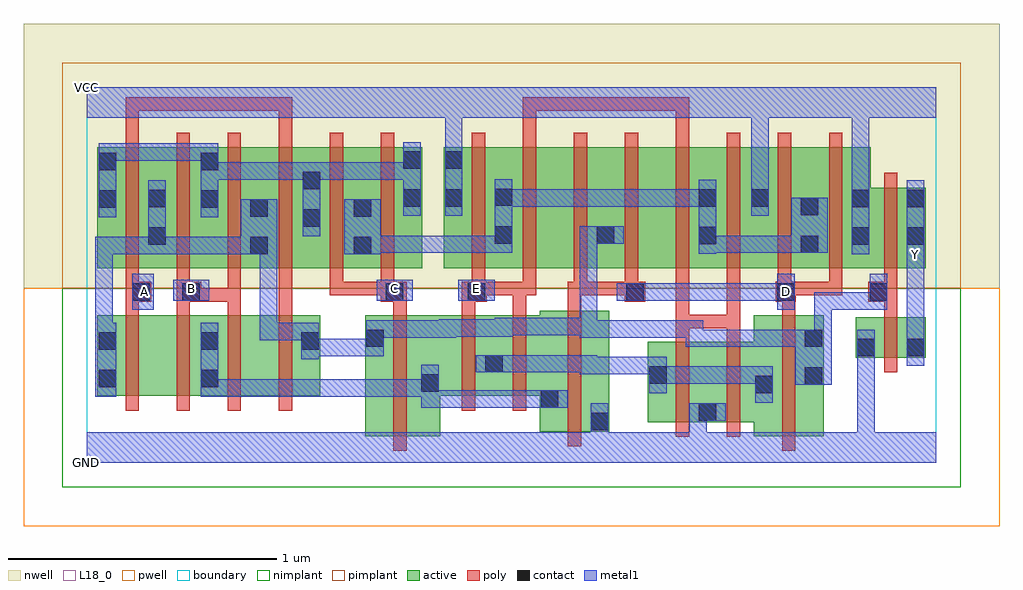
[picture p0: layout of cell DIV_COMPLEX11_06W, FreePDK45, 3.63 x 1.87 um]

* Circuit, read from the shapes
.subckt DIV_COMPLEX11_06W A B C D E GND VCC Y
M1 n1 A n2 VSUBS nfet w=0.3u l=0.05u
M2 n3 B n1 VSUBS nfet w=0.3u l=0.05u
M3 n4 B n3 VSUBS nfet w=0.3u l=0.05u
M4 n2 A n4 VSUBS nfet w=0.3u l=0.05u
M5 n3 C n2 VSUBS nfet w=0.45u l=0.05u
M6 n5 E n3 VSUBS nfet w=0.3u l=0.05u m=2
M7 GND D n3 VSUBS nfet w=0.45u l=0.05u
M8 GND E n5 VSUBS nfet w=0.3u l=0.05u m=2
M9 n2 D n5 VSUBS nfet w=0.45u l=0.05u
M10 Y n2 GND VSUBS nfet w=0.15u l=0.05u
M11 n2 A n6 n7 pfet w=0.45u l=0.05u m=2
M12 n6 B n2 n7 pfet w=0.45u l=0.05u m=2
M13 n8 C n6 n7 pfet w=0.45u l=0.05u m=2
M14 n8 E VCC n7 pfet w=0.45u l=0.05u m=2
M15 n9 E n8 n7 pfet w=0.45u l=0.05u
M16 n2 D n9 n7 pfet w=0.45u l=0.05u
M17 n10 D n2 n7 pfet w=0.45u l=0.05u
M18 n8 E n10 n7 pfet w=0.45u l=0.05u
M19 n8 D VCC n7 pfet w=0.45u l=0.05u m=2
M20 Y n2 VCC n7 pfet w=0.3u l=0.05u
.ends

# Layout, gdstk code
import gdstk
lib = gdstk.Library(unit=1e-6, precision=1e-09)
def R(c, l, rs):  # rectangles x0, y0, x1, y1
    for r in rs: c.add(gdstk.rectangle(r[:2], r[2:], *l))
def A(c, l, x, y, w, h, nx, ny, dx, dy):  # array of equal rectangles
    R(c, l, [(x+i*dx, y+j*dy, x+i*dx+w, y+j*dy+h) for i in range(nx) for j in range(ny)])
active = (1, 0)
pwell = (2, 0)
nwell = (3, 0)
nimplant = (4, 0)
pimplant = (5, 0)
poly = (9, 0)
contact = (10, 0)
metal1 = (11, 0)
L18_0 = (18, 0)
boundary = (235, 0)

div_complex11_06w = lib.new_cell('DIV_COMPLEX11_06W')
A(div_complex11_06w, active, 0.04, 0.725, 0.075, 0.45, 3, 1, 0.38, 0)
R(div_complex11_06w, active, [(1.037,0.1,1.317,0.55), (2.485,0.1,2.745,0.55), (1.687,0.117,1.947,0.567), (1.872,0.117,1.947,0.567), (1.037,0.145,1.112,0.55), (2.67,0.145,2.745,0.55), (2.09,0.152,2.35,0.452), (2.275,0.152,2.56,0.452), (2.275,0.152,2.35,0.392), (1.242,0.2,1.317,0.405), (1.687,0.2,1.762,0.405), (2.09,0.2,2.165,0.452), (2.485,0.2,2.56,0.392), (0.04,0.25,0.265,0.55), (0.04,0.25,0.115,0.55), (0.265,0.25,0.495,0.55), (0.42,0.25,0.645,0.55), (0.42,0.25,0.495,0.55), (0.645,0.25,0.87,0.55), (1.242,0.25,1.555,0.55), (1.48,0.25,1.762,0.55), (0.795,0.295,0.87,0.55), (1.48,0.295,1.555,0.407), (2.865,0.392,2.94,0.542), (2.865,0.392,3.125,0.542), (3.05,0.392,3.125,0.542), (0.04,0.725,0.3,1.175), (0.225,0.725,0.495,1.175), (0.225,0.725,0.3,1.07), (0.42,0.725,0.68,1.175), (0.605,0.725,0.875,1.175), (0.605,0.725,0.68,1.07), (0.8,0.725,1.065,1.175), (0.99,0.725,1.25,1.175), (0.99,0.725,1.065,1.07), (1.33,0.725,1.59,1.175), (1.515,0.725,1.745,1.175), (1.515,0.725,1.59,1.165), (1.745,0.725,1.97,1.175), (1.895,0.725,2.125,1.175), (1.895,0.725,1.97,1.07), (2.125,0.725,2.35,1.175), (2.275,0.725,2.35,1.167), (2.275,0.725,2.545,1.175), (2.47,0.725,2.73,1.175), (2.655,0.725,2.92,1.175), (2.655,0.725,2.73,1.167), (2.845,0.725,3.125,1.025), (2.845,0.725,2.92,1.022), (3.05,0.725,3.125,1.025), (1.33,0.85,1.405,1.175), (1.175,0.852,1.25,1.175), (2.47,0.852,2.545,1.175)])
R(div_complex11_06w, pwell, [(-0.235,-0.235,3.4,0.65)])
R(div_complex11_06w, nwell, [(-0.235,0.65,3.4,1.635)])
R(div_complex11_06w, nimplant, [(-0.09,-0.09,3.255,0.65)])
R(div_complex11_06w, pimplant, [(-0.09,0.65,3.255,1.49)])
A(div_complex11_06w, poly, 0.145, 0.195, 0.05, 0.41, 4, 1, 0.19, 0)
A(div_complex11_06w, poly, 0.145, 0.555, 0.05, 0.095, 3, 1, 0.19, 0)
A(div_complex11_06w, poly, 0.715, 0.625, 0.05, 0.095, 3, 1, 0.19, 0)
A(div_complex11_06w, poly, 0.715, 0.625, 0.05, 0.05, 3, 1, 0.19, 0)
A(div_complex11_06w, poly, 1.435, 0.625, 0.05, 0.095, 4, 1, 0.19, 0)
A(div_complex11_06w, poly, 0.145, 0.67, 0.05, 0.56, 6, 1, 0.19, 0)
A(div_complex11_06w, poly, 1.435, 0.67, 0.05, 0.56, 8, 1, 0.19, 0)
R(div_complex11_06w, poly, [(1.142,0.045,1.192,0.605), (2.59,0.045,2.64,0.605), (1.792,0.062,1.842,0.622), (2.195,0.097,2.245,0.507), (2.385,0.097,2.435,0.507), (1.397,0.195,1.447,0.605), (1.587,0.195,1.637,0.605), (2.97,0.337,3.02,0.597), (2.195,0.457,2.245,0.552), (2.385,0.457,2.435,0.552), (2.195,0.502,2.245,0.552), (2.195,0.502,2.245,0.72), (2.195,0.502,2.435,0.552), (2.385,0.502,2.435,0.552), (2.385,0.502,2.435,0.552), (2.385,0.502,2.435,0.552), (2.385,0.502,2.435,0.72), (2.97,0.547,3.02,0.65), (0.715,0.555,0.765,0.675), (1.142,0.555,1.192,0.65), (1.397,0.555,1.447,0.65), (1.587,0.555,1.637,0.675), (2.59,0.555,2.64,0.65), (1.792,0.572,1.842,0.675), (0.145,0.6,0.24,0.675), (0.335,0.6,0.427,0.675), (0.377,0.6,0.575,0.65), (0.525,0.6,0.575,0.65), (0.525,0.6,0.575,0.65), (0.525,0.6,0.575,0.65), (0.525,0.6,0.575,0.72), (1.095,0.6,1.192,0.675), (1.397,0.6,1.49,0.675), (2.005,0.6,2.08,0.675), (2.567,0.6,2.642,0.675), (2.912,0.6,3.02,0.675), (0.145,0.625,0.195,0.72), (0.335,0.625,0.385,0.72), (0.905,0.625,1.145,0.675), (1.095,0.625,1.145,0.675), (1.44,0.625,1.49,0.675), (1.44,0.625,1.49,0.675), (1.44,0.625,1.637,0.675), (1.587,0.625,1.675,0.675), (1.792,0.625,1.865,0.675), (1.815,0.625,2.055,0.675), (2.005,0.625,2.055,0.675), (2.005,0.625,2.055,0.675), (2.575,0.625,2.625,0.72), (2.592,0.625,2.815,0.675), (2.765,0.625,2.815,0.72), (2.765,0.625,2.815,0.675), (2.765,0.625,2.815,0.675), (2.765,0.625,2.815,0.675), (2.97,0.625,3.02,0.72), (2.97,0.67,3.02,1.08), (0.145,1.18,0.195,1.362), (0.715,1.18,0.765,1.362), (1.625,1.18,1.675,1.362), (2.195,1.18,2.245,1.362), (0.145,1.312,0.195,1.362), (0.145,1.312,0.195,1.362), (0.145,1.312,0.195,1.362), (0.145,1.312,0.442,1.362), (0.392,1.312,0.442,1.362), (0.392,1.312,0.442,1.362), (0.392,1.312,0.442,1.362), (0.392,1.312,0.575,1.362), (0.525,1.312,0.575,1.362), (0.525,1.312,0.765,1.362), (0.715,1.312,0.765,1.362), (0.715,1.312,0.765,1.362), (0.715,1.312,0.765,1.362), (1.625,1.312,1.675,1.362), (1.625,1.312,1.675,1.362), (1.625,1.312,1.675,1.362), (1.625,1.312,1.865,1.362), (1.815,1.312,1.865,1.362), (1.815,1.312,1.997,1.362), (1.947,1.312,1.997,1.362), (1.947,1.312,1.997,1.362), (1.947,1.312,1.997,1.362), (1.947,1.312,2.245,1.362), (2.195,1.312,2.245,1.362), (2.195,1.312,2.245,1.362), (2.195,1.312,2.245,1.362)])
R(div_complex11_06w, contact, [(1.877,0.122,1.942,0.187), (2.28,0.157,2.345,0.222), (1.692,0.205,1.757,0.27), (2.49,0.26,2.555,0.325), (1.247,0.265,1.312,0.33), (0.045,0.282,0.11,0.347), (0.425,0.282,0.49,0.347), (2.675,0.292,2.74,0.357), (2.095,0.295,2.16,0.36), (1.485,0.337,1.55,0.402), (2.87,0.397,2.935,0.462), (3.055,0.397,3.12,0.462), (0.045,0.422,0.11,0.487), (0.425,0.422,0.49,0.487), (0.8,0.422,0.865,0.487), (1.042,0.432,1.107,0.497), (2.675,0.432,2.74,0.497), (0.17,0.605,0.235,0.67), (0.357,0.605,0.422,0.67), (1.115,0.605,1.18,0.67), (1.42,0.605,1.485,0.67), (2.01,0.605,2.075,0.67), (2.572,0.605,2.637,0.67), (2.917,0.605,2.982,0.67), (0.61,0.777,0.675,0.842), (0.995,0.777,1.06,0.842), (2.66,0.782,2.725,0.847), (0.23,0.812,0.295,0.877), (2.85,0.812,2.915,0.877), (3.055,0.812,3.12,0.877), (2.28,0.815,2.345,0.88), (1.52,0.817,1.585,0.882), (1.9,0.817,1.965,0.882), (0.805,0.88,0.87,0.945), (0.61,0.917,0.675,0.982), (0.995,0.917,1.06,0.982), (2.66,0.922,2.725,0.987), (0.045,0.95,0.11,1.015), (0.425,0.95,0.49,1.015), (0.23,0.952,0.295,1.017), (2.85,0.952,2.915,1.017), (3.055,0.952,3.12,1.017), (1.18,0.955,1.245,1.02), (1.335,0.955,1.4,1.02), (2.28,0.955,2.345,1.02), (2.475,0.955,2.54,1.02), (1.52,0.957,1.585,1.022), (0.805,1.02,0.87,1.085), (0.045,1.09,0.11,1.155), (0.425,1.09,0.49,1.155), (1.18,1.095,1.245,1.16), (1.335,1.095,1.4,1.16)])
R(div_complex11_06w, metal1, [(0,0,3.165,0.115), (1.877,0.05,1.942,0.152), (2.245,0.05,2.31,0.115), (2.245,0.05,2.31,0.115), (2.245,0.05,2.31,0.222), (2.87,0.05,2.935,0.115), (2.87,0.05,2.935,0.115), (2.87,0.05,2.935,0.115), (2.87,0.05,2.935,0.115), (2.87,0.05,2.935,0.427), (1.877,0.087,1.942,0.152), (1.877,0.087,1.942,0.152), (1.877,0.087,1.942,0.222), (2.245,0.157,2.31,0.222), (2.245,0.157,2.31,0.222), (2.245,0.157,2.38,0.222), (1.247,0.205,1.585,0.27), (1.247,0.205,1.312,0.295), (1.52,0.205,1.585,0.27), (1.52,0.205,1.585,0.27), (1.52,0.205,1.585,0.27), (1.52,0.205,1.722,0.27), (1.657,0.205,1.722,0.27), (1.657,0.205,1.722,0.27), (1.657,0.205,1.792,0.27), (2.49,0.225,2.555,0.36), (1.247,0.23,1.312,0.295), (1.247,0.23,1.312,0.365), (0.032,0.247,0.11,0.522), (0.425,0.247,0.49,0.312), (0.425,0.247,0.49,0.312), (0.425,0.247,0.49,0.522), (0.425,0.247,0.627,0.312), (0.562,0.247,0.627,0.312), (0.562,0.247,0.847,0.312), (0.782,0.247,0.847,0.312), (0.782,0.247,0.847,0.312), (0.782,0.247,0.847,0.312), (0.782,0.247,1.007,0.312), (0.942,0.247,1.007,0.312), (0.942,0.247,1.007,0.312), (0.942,0.247,1.007,0.312), (0.942,0.247,1.175,0.312), (1.11,0.247,1.175,0.312), (1.11,0.247,1.312,0.312), (2.095,0.26,2.16,0.395), (2.64,0.292,2.775,0.497), (2.095,0.295,2.362,0.36), (2.297,0.295,2.362,0.36), (2.297,0.295,2.362,0.36), (2.297,0.295,2.362,0.36), (2.297,0.295,2.5,0.36), (2.435,0.295,2.5,0.36), (2.435,0.295,2.555,0.36), (1.837,0.33,1.905,0.395), (1.837,0.33,1.902,0.402), (1.84,0.33,1.905,0.395), (1.84,0.33,2.16,0.395), (2.095,0.33,2.16,0.395), (2.095,0.33,2.16,0.395), (1.45,0.337,1.585,0.402), (1.52,0.337,1.765,0.402), (1.7,0.337,1.765,0.402), (1.7,0.337,1.765,0.402), (1.7,0.337,1.765,0.402), (1.7,0.337,1.902,0.402), (2.87,0.362,2.935,0.427), (2.87,0.362,2.935,0.427), (2.87,0.362,2.935,0.497), (3.055,0.362,3.12,0.497), (0.8,0.387,0.865,0.522), (0.8,0.397,1.007,0.462), (0.942,0.397,1.007,0.462), (0.942,0.397,1.107,0.462), (1.042,0.397,1.107,0.532), (2.232,0.432,2.5,0.497), (2.232,0.432,2.297,0.532), (2.435,0.432,2.5,0.497), (2.435,0.432,2.5,0.497), (2.435,0.432,2.5,0.497), (2.435,0.432,2.637,0.497), (2.572,0.432,2.637,0.497), (2.572,0.432,2.705,0.497), (2.71,0.432,2.775,0.635), (3.055,0.432,3.12,0.772), (0.032,0.457,0.097,0.842), (0.645,0.457,0.71,0.522), (0.645,0.457,0.71,0.522), (0.645,0.457,0.71,0.522), (0.645,0.457,0.865,0.522), (0.645,0.457,0.71,0.842), (0.8,0.457,0.865,0.522), (0.8,0.457,0.865,0.522), (1.042,0.467,1.175,0.532), (1.11,0.467,1.175,0.532), (1.11,0.467,1.312,0.532), (1.247,0.467,1.312,0.532), (1.247,0.467,1.377,0.532), (1.312,0.467,1.377,0.535), (1.837,0.467,2.042,0.532), (1.837,0.467,1.902,0.54), (1.977,0.467,2.042,0.532), (1.977,0.467,2.042,0.532), (1.977,0.467,2.042,0.532), (1.977,0.467,2.297,0.532), (2.232,0.467,2.297,0.532), (2.232,0.467,2.297,0.532), (1.312,0.47,1.585,0.535), (1.52,0.47,1.585,0.535), (1.52,0.47,1.585,0.535), (1.52,0.47,1.585,0.54), (1.52,0.475,1.722,0.54), (1.657,0.475,1.722,0.54), (1.657,0.475,1.722,0.54), (1.657,0.475,1.722,0.54), (1.657,0.475,1.902,0.54), (1.837,0.475,1.902,0.54), (1.837,0.475,1.902,0.54), (1.837,0.475,1.902,0.54), (1.837,0.475,1.902,0.54), (1.837,0.475,1.902,0.882), (0.17,0.57,0.25,0.705), (2.572,0.57,2.637,0.705), (2.71,0.57,2.775,0.635), (2.71,0.57,2.775,0.635), (2.71,0.57,2.775,0.635), (2.71,0.57,2.982,0.635), (2.917,0.57,2.982,0.635), (2.917,0.57,2.982,0.635), (2.917,0.57,2.982,0.705), (0.322,0.605,0.457,0.682), (1.08,0.605,1.215,0.682), (1.385,0.605,1.52,0.682), (1.975,0.605,2.11,0.67), (2.045,0.605,2.11,0.67), (2.045,0.605,2.11,0.67), (2.045,0.605,2.297,0.67), (2.232,0.605,2.297,0.67), (2.232,0.605,2.297,0.67), (2.232,0.605,2.297,0.67), (2.232,0.605,2.5,0.67), (2.435,0.605,2.5,0.67), (2.435,0.605,2.552,0.67), (2.487,0.605,2.552,0.67), (2.487,0.605,2.637,0.67), (3.055,0.707,3.12,0.842), (0.032,0.777,0.097,0.842), (0.032,0.777,0.097,0.842), (0.032,0.777,0.097,0.842), (0.032,0.777,0.097,0.842), (0.032,0.777,0.097,0.842), (0.032,0.777,0.295,0.842), (0.23,0.777,0.295,0.842), (0.23,0.777,0.295,0.842), (0.23,0.777,0.295,1.052), (0.23,0.777,0.432,0.842), (0.367,0.777,0.432,0.842), (0.367,0.777,0.432,0.842), (0.367,0.777,0.432,0.842), (0.367,0.777,0.64,0.842), (0.575,0.777,0.71,0.982), (0.96,0.777,1.095,0.982), (2.85,0.777,2.915,1.052), (3.055,0.777,3.12,0.842), (3.055,0.777,3.12,1.052), (2.28,0.78,2.345,1.055), (1.03,0.782,1.175,0.847), (1.11,0.782,1.175,0.847), (1.11,0.782,1.312,0.847), (1.247,0.782,1.312,0.847), (1.247,0.782,1.312,0.847), (1.247,0.782,1.312,0.847), (1.247,0.782,1.585,0.847), (1.52,0.782,1.585,0.847), (1.52,0.782,1.585,0.847), (1.52,0.782,1.585,1.057), (2.28,0.782,2.5,0.847), (2.435,0.782,2.5,0.847), (2.435,0.782,2.5,0.847), (2.435,0.782,2.5,0.847), (2.435,0.782,2.637,0.847), (2.572,0.782,2.637,0.847), (2.572,0.782,2.69,0.847), (2.625,0.782,2.76,0.987), (1.837,0.817,2,0.882), (0.805,0.845,0.87,1.12), (0.045,0.915,0.11,1.19), (0.425,0.915,0.49,1.19), (1.18,0.92,1.245,1.195), (1.335,0.92,1.4,1.195), (2.475,0.92,2.54,1.055), (1.52,0.955,1.722,1.02), (1.657,0.955,1.722,1.02), (1.657,0.955,1.722,1.02), (1.657,0.955,1.722,1.02), (1.657,0.955,1.902,1.02), (1.837,0.955,1.902,1.02), (1.837,0.955,1.902,1.02), (1.837,0.955,1.902,1.02), (1.837,0.955,2.042,1.02), (1.977,0.955,2.042,1.02), (1.977,0.955,2.042,1.02), (1.977,0.955,2.042,1.02), (1.977,0.955,2.345,1.02), (2.28,0.955,2.345,1.02), (2.28,0.955,2.345,1.02), (2.85,0.987,2.915,1.35), (2.475,0.99,2.54,1.055), (2.475,0.99,2.54,1.055), (2.475,0.99,2.54,1.35), (0.425,1.055,0.49,1.12), (0.425,1.055,0.49,1.12), (0.425,1.055,0.627,1.12), (0.562,1.055,0.627,1.12), (0.562,1.055,0.627,1.12), (0.562,1.055,0.627,1.12), (0.562,1.055,0.87,1.12), (0.805,1.055,1.007,1.12), (0.942,1.055,1.007,1.12), (0.942,1.055,1.007,1.12), (0.942,1.055,1.007,1.12), (0.942,1.055,1.175,1.12), (1.11,1.055,1.175,1.12), (1.11,1.055,1.245,1.12), (0.045,1.125,0.11,1.19), (0.045,1.125,0.11,1.19), (0.045,1.125,0.295,1.19), (0.23,1.125,0.295,1.19), (0.23,1.125,0.295,1.19), (0.23,1.125,0.295,1.19), (0.23,1.125,0.49,1.19), (1.335,1.13,1.4,1.195), (1.335,1.13,1.4,1.195), (1.335,1.13,1.4,1.35), (0,1.285,3.165,1.4), (2.85,1.285,2.915,1.35), (2.85,1.285,2.915,1.35)])
R(div_complex11_06w, L18_0, [(0,0,3.165,0.115), (1.877,0.05,1.942,0.152), (2.245,0.05,2.31,0.115), (2.245,0.05,2.31,0.115), (2.245,0.05,2.31,0.222), (2.87,0.05,2.935,0.115), (2.87,0.05,2.935,0.115), (2.87,0.05,2.935,0.115), (2.87,0.05,2.935,0.115), (2.87,0.05,2.935,0.427), (1.877,0.087,1.942,0.152), (1.877,0.087,1.942,0.152), (1.877,0.087,1.942,0.222), (2.245,0.157,2.31,0.222), (2.245,0.157,2.31,0.222), (2.245,0.157,2.38,0.222), (2.87,0.362,2.935,0.427), (2.87,0.362,2.935,0.427), (2.87,0.362,2.935,0.497), (3.055,0.362,3.12,0.497), (3.055,0.432,3.12,0.772), (0.17,0.57,0.25,0.705), (2.572,0.57,2.637,0.705), (0.185,0.605,0.25,0.67), (0.322,0.605,0.457,0.682), (1.08,0.605,1.215,0.682), (1.385,0.605,1.52,0.682), (1.975,0.605,2.11,0.67), (2.045,0.605,2.11,0.67), (2.045,0.605,2.11,0.67), (2.045,0.605,2.297,0.67), (2.232,0.605,2.297,0.67), (2.232,0.605,2.297,0.67), (2.232,0.605,2.297,0.67), (2.232,0.605,2.5,0.67), (2.435,0.605,2.5,0.67), (2.435,0.605,2.552,0.67), (2.487,0.605,2.552,0.67), (2.487,0.605,2.637,0.67), (2.572,0.605,2.637,0.67), (0.357,0.617,0.422,0.682), (1.115,0.617,1.18,0.682), (1.42,0.617,1.485,0.682), (3.055,0.707,3.12,0.842), (3.055,0.742,3.12,0.807), (2.85,0.777,2.915,1.052), (3.055,0.777,3.12,1.052), (3.055,0.777,3.12,0.842), (1.335,0.92,1.4,1.195), (2.475,0.92,2.54,1.055), (2.85,0.987,2.915,1.35), (2.475,0.99,2.54,1.055), (2.475,0.99,2.54,1.055), (2.475,0.99,2.54,1.35), (1.335,1.13,1.4,1.195), (1.335,1.13,1.4,1.195), (1.335,1.13,1.4,1.35), (0,1.285,3.165,1.4), (2.85,1.285,2.915,1.35), (2.85,1.285,2.915,1.35)])
R(div_complex11_06w, boundary, [(0,0,3.165,1.4)])
div_complex11_06w.add(gdstk.Label('A', (0.217,0.637), layer=11, texttype=0))
div_complex11_06w.add(gdstk.Label('B', (0.39,0.65), layer=11, texttype=0))
div_complex11_06w.add(gdstk.Label('C', (1.147,0.65), layer=11, texttype=0))
div_complex11_06w.add(gdstk.Label('D', (2.605,0.637), layer=11, texttype=0))
div_complex11_06w.add(gdstk.Label('E', (1.452,0.65), layer=11, texttype=0))
div_complex11_06w.add(gdstk.Label('Y', (3.087,0.775), layer=11, texttype=0))
div_complex11_06w.add(gdstk.Label('VCC', (0,1.4), layer=11, texttype=0))
div_complex11_06w.add(gdstk.Label('GND', (0,0), layer=11, texttype=0))

lib.write_gds('DIV_COMPLEX11_06W.gds')
